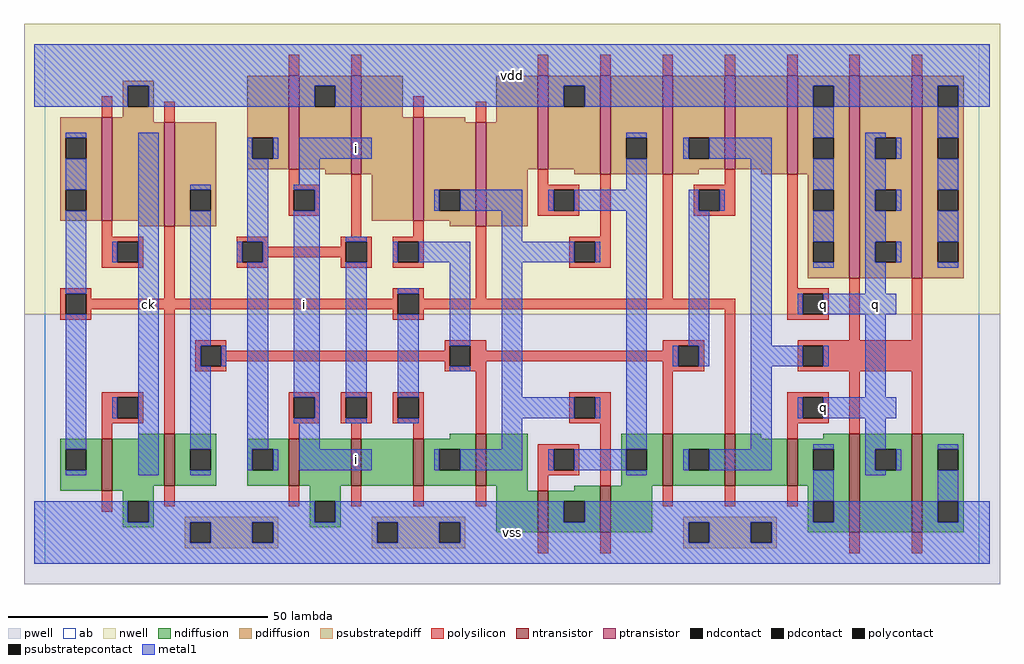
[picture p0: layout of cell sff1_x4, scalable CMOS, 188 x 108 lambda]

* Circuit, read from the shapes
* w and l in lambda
.subckt sff1_x4 ck i q vdd vss
M1 vss ck n1 vss nfet w=10 l=2
M2 n2 n1 vss vss nfet w=10 l=2
M3 vss i n3 vss nfet w=9 l=2
M4 n4 n3 vss vss nfet w=9 l=2
M5 n5 n1 n4 vss nfet w=9 l=2
M6 n6 n2 n5 vss nfet w=10 l=2
M7 vss n7 n6 vss nfet w=8 l=2
M8 n7 n5 vss vss nfet w=9 l=2
M9 n8 n2 n7 vss nfet w=10 l=2
M10 n9 n1 n8 vss nfet w=10 l=2
M11 vss q n9 vss nfet w=9 l=2
M12 q n8 vss vss nfet w=19 l=2 m=2
M13 vdd ck n1 n10 pfet w=20 l=2
M14 n2 n1 vdd n10 pfet w=20 l=2
M15 vdd i n3 n10 pfet w=18 l=2
M16 n11 n3 vdd n10 pfet w=19 l=2
M17 n5 n2 n11 n10 pfet w=20 l=2
M18 n12 n1 n5 n10 pfet w=20 l=2
M19 vdd n7 n12 n10 pfet w=18 l=2
M20 n7 n5 vdd n10 pfet w=19 l=2
M21 n8 n1 n7 n10 pfet w=19 l=2
M22 n13 n2 n8 n10 pfet w=18 l=2
M23 vdd q n13 n10 pfet w=19 l=2
M24 q n8 vdd n10 pfet w=39 l=2 m=2
.ends

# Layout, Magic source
magic
tech scmos
<< ab >>
rect 0 0 180 100
<< pwell >>
rect -4 -4 184 48
<< nwell >>
rect -4 48 184 104
<< polysilicon >>
rect 47 94 49 98
rect 59 94 61 98
rect 95 94 97 98
rect 107 94 109 98
rect 119 94 121 98
rect 131 94 133 98
rect 143 94 145 98
rect 155 94 157 98
rect 167 94 169 98
rect 11 86 13 90
rect 23 85 25 89
rect 11 63 13 66
rect 47 73 49 76
rect 71 86 73 90
rect 47 72 53 73
rect 47 68 48 72
rect 52 68 53 72
rect 47 67 53 68
rect 11 62 19 63
rect 11 58 14 62
rect 18 58 19 62
rect 11 57 19 58
rect 3 52 9 53
rect 3 48 4 52
rect 8 51 9 52
rect 23 51 25 65
rect 59 63 61 75
rect 83 85 85 89
rect 71 63 73 66
rect 95 73 97 76
rect 95 72 103 73
rect 95 68 98 72
rect 102 68 103 72
rect 95 67 103 68
rect 37 62 43 63
rect 37 58 38 62
rect 42 61 43 62
rect 57 62 63 63
rect 57 61 58 62
rect 42 59 58 61
rect 42 58 43 59
rect 37 57 43 58
rect 57 58 58 59
rect 62 58 63 62
rect 57 57 63 58
rect 67 62 73 63
rect 67 58 68 62
rect 72 58 73 62
rect 67 57 73 58
rect 67 52 73 53
rect 67 51 68 52
rect 8 49 68 51
rect 8 48 9 49
rect 3 47 9 48
rect 11 32 19 33
rect 11 28 14 32
rect 18 28 19 32
rect 11 27 19 28
rect 11 24 13 27
rect 23 25 25 49
rect 67 48 68 49
rect 72 51 73 52
rect 83 51 85 65
rect 107 63 109 75
rect 101 62 109 63
rect 101 58 102 62
rect 106 58 109 62
rect 101 57 109 58
rect 119 51 121 75
rect 131 73 133 76
rect 125 72 133 73
rect 125 68 126 72
rect 130 68 133 72
rect 125 67 133 68
rect 143 53 145 75
rect 143 52 151 53
rect 72 49 133 51
rect 72 48 73 49
rect 67 47 73 48
rect 29 42 35 43
rect 29 38 30 42
rect 34 41 35 42
rect 77 42 85 43
rect 77 41 78 42
rect 34 39 78 41
rect 34 38 35 39
rect 29 37 35 38
rect 77 38 78 39
rect 82 41 85 42
rect 119 42 127 43
rect 119 41 122 42
rect 82 39 122 41
rect 82 38 85 39
rect 77 37 85 38
rect 47 32 53 33
rect 47 28 48 32
rect 52 28 53 32
rect 47 27 53 28
rect 57 32 63 33
rect 57 28 58 32
rect 62 28 63 32
rect 57 27 63 28
rect 67 32 73 33
rect 67 28 68 32
rect 72 28 73 32
rect 67 27 73 28
rect 47 24 49 27
rect 59 24 61 27
rect 71 24 73 27
rect 83 25 85 37
rect 119 38 122 39
rect 126 38 127 42
rect 119 37 127 38
rect 101 32 109 33
rect 101 28 102 32
rect 106 28 109 32
rect 101 27 109 28
rect 11 10 13 14
rect 23 11 25 15
rect 47 11 49 15
rect 59 11 61 15
rect 71 11 73 15
rect 83 11 85 15
rect 95 22 103 23
rect 95 18 98 22
rect 102 18 103 22
rect 95 17 103 18
rect 95 14 97 17
rect 107 15 109 27
rect 119 25 121 37
rect 131 25 133 49
rect 143 48 146 52
rect 150 48 151 52
rect 143 47 151 48
rect 155 43 157 55
rect 167 43 169 55
rect 145 42 169 43
rect 145 38 146 42
rect 150 38 169 42
rect 145 37 169 38
rect 143 32 151 33
rect 143 28 146 32
rect 150 28 151 32
rect 143 27 151 28
rect 143 24 145 27
rect 155 25 157 37
rect 167 25 169 37
rect 119 11 121 15
rect 131 11 133 15
rect 143 11 145 15
rect 95 2 97 6
rect 107 2 109 6
rect 155 2 157 6
rect 167 2 169 6
<< ndiffusion >>
rect 18 24 23 25
rect 3 22 11 24
rect 3 18 4 22
rect 8 18 11 22
rect 3 14 11 18
rect 13 15 23 24
rect 25 22 33 25
rect 78 24 83 25
rect 25 18 28 22
rect 32 18 33 22
rect 25 15 33 18
rect 39 22 47 24
rect 39 18 40 22
rect 44 18 47 22
rect 39 15 47 18
rect 49 15 59 24
rect 61 15 71 24
rect 73 22 83 24
rect 73 18 76 22
rect 80 18 83 22
rect 73 15 83 18
rect 85 15 93 25
rect 13 14 21 15
rect 15 12 21 14
rect 15 8 16 12
rect 20 8 21 12
rect 51 12 57 15
rect 15 7 21 8
rect 51 8 52 12
rect 56 8 57 12
rect 87 14 93 15
rect 111 22 119 25
rect 111 18 112 22
rect 116 18 119 22
rect 111 15 119 18
rect 121 22 131 25
rect 121 18 124 22
rect 128 18 131 22
rect 121 15 131 18
rect 133 24 138 25
rect 150 24 155 25
rect 133 15 143 24
rect 145 22 155 24
rect 145 18 148 22
rect 152 18 155 22
rect 145 15 155 18
rect 102 14 107 15
rect 51 7 57 8
rect 87 6 95 14
rect 97 12 107 14
rect 97 8 100 12
rect 104 8 107 12
rect 97 6 107 8
rect 109 6 117 15
rect 147 12 155 15
rect 147 8 148 12
rect 152 8 155 12
rect 147 6 155 8
rect 157 22 167 25
rect 157 18 160 22
rect 164 18 167 22
rect 157 6 167 18
rect 169 22 177 25
rect 169 18 172 22
rect 176 18 177 22
rect 169 12 177 18
rect 169 8 172 12
rect 176 8 177 12
rect 169 6 177 8
<< pdiffusion >>
rect 15 92 21 93
rect 15 88 16 92
rect 20 88 21 92
rect 15 86 21 88
rect 3 82 11 86
rect 3 78 4 82
rect 8 78 11 82
rect 3 72 11 78
rect 3 68 4 72
rect 8 68 11 72
rect 3 66 11 68
rect 13 85 21 86
rect 13 66 23 85
rect 18 65 23 66
rect 25 72 33 85
rect 39 82 47 94
rect 39 78 40 82
rect 44 78 47 82
rect 39 76 47 78
rect 49 92 59 94
rect 49 88 52 92
rect 56 88 59 92
rect 49 76 59 88
rect 25 68 28 72
rect 32 68 33 72
rect 25 65 33 68
rect 54 75 59 76
rect 61 86 69 94
rect 61 75 71 86
rect 63 66 71 75
rect 73 85 81 86
rect 87 85 95 94
rect 73 72 83 85
rect 73 68 76 72
rect 80 68 83 72
rect 73 66 83 68
rect 78 65 83 66
rect 85 76 95 85
rect 97 92 107 94
rect 97 88 100 92
rect 104 88 107 92
rect 97 76 107 88
rect 85 65 93 76
rect 102 75 107 76
rect 109 82 119 94
rect 109 78 112 82
rect 116 78 119 82
rect 109 75 119 78
rect 121 82 131 94
rect 121 78 124 82
rect 128 78 131 82
rect 121 76 131 78
rect 133 76 143 94
rect 121 75 126 76
rect 138 75 143 76
rect 145 92 155 94
rect 145 88 148 92
rect 152 88 155 92
rect 145 82 155 88
rect 145 78 148 82
rect 152 78 155 82
rect 145 75 155 78
rect 147 72 155 75
rect 147 68 148 72
rect 152 68 155 72
rect 147 62 155 68
rect 147 58 148 62
rect 152 58 155 62
rect 147 55 155 58
rect 157 82 167 94
rect 157 78 160 82
rect 164 78 167 82
rect 157 72 167 78
rect 157 68 160 72
rect 164 68 167 72
rect 157 62 167 68
rect 157 58 160 62
rect 164 58 167 62
rect 157 55 167 58
rect 169 92 177 94
rect 169 88 172 92
rect 176 88 177 92
rect 169 82 177 88
rect 169 78 172 82
rect 176 78 177 82
rect 169 72 177 78
rect 169 68 172 72
rect 176 68 177 72
rect 169 62 177 68
rect 169 58 172 62
rect 176 58 177 62
rect 169 55 177 58
<< metal1 >>
rect -2 92 182 100
rect -2 88 16 92
rect 20 88 52 92
rect 56 88 100 92
rect 104 88 148 92
rect 152 88 172 92
rect 176 88 182 92
rect 4 82 8 83
rect 4 72 8 78
rect 4 52 8 68
rect 13 58 14 62
rect 4 22 8 48
rect 13 28 14 32
rect 4 17 8 18
rect 18 17 22 83
rect 112 82 116 83
rect 148 82 152 88
rect 39 78 40 82
rect 44 78 45 82
rect 49 78 63 82
rect 123 78 124 82
rect 128 78 140 82
rect 28 72 32 73
rect 28 42 32 68
rect 39 62 43 78
rect 49 73 53 78
rect 37 58 38 62
rect 42 58 43 62
rect 28 38 30 42
rect 34 38 35 42
rect 28 22 32 38
rect 39 22 43 58
rect 48 72 53 73
rect 112 72 116 78
rect 52 68 53 72
rect 75 68 76 72
rect 80 68 92 72
rect 97 68 98 72
rect 102 68 116 72
rect 48 32 53 68
rect 52 28 53 32
rect 48 27 53 28
rect 58 62 62 63
rect 88 62 92 68
rect 67 58 68 62
rect 72 58 82 62
rect 58 32 62 58
rect 58 27 62 28
rect 68 52 72 53
rect 68 32 72 48
rect 78 42 82 58
rect 78 37 82 38
rect 88 58 102 62
rect 106 58 107 62
rect 68 27 72 28
rect 88 32 92 58
rect 88 28 102 32
rect 106 28 107 32
rect 49 22 53 27
rect 88 22 92 28
rect 112 22 116 68
rect 124 68 126 72
rect 130 68 131 72
rect 124 42 128 68
rect 121 38 122 42
rect 126 38 128 42
rect 136 42 140 78
rect 148 72 152 78
rect 148 62 152 68
rect 148 57 152 58
rect 158 82 162 83
rect 172 82 176 88
rect 158 78 160 82
rect 164 78 165 82
rect 158 72 162 78
rect 172 72 176 78
rect 158 68 160 72
rect 164 68 165 72
rect 158 62 162 68
rect 172 62 176 68
rect 158 58 160 62
rect 164 58 165 62
rect 158 52 162 58
rect 172 57 176 58
rect 145 48 146 52
rect 150 48 164 52
rect 136 38 146 42
rect 150 38 151 42
rect 136 22 140 38
rect 158 32 162 48
rect 145 28 146 32
rect 150 28 164 32
rect 39 18 40 22
rect 44 18 45 22
rect 49 18 63 22
rect 75 18 76 22
rect 80 18 92 22
rect 97 18 98 22
rect 102 18 112 22
rect 123 18 124 22
rect 128 18 140 22
rect 148 22 152 23
rect 28 17 32 18
rect 112 17 116 18
rect 148 12 152 18
rect 158 22 162 28
rect 172 22 176 23
rect 158 18 160 22
rect 164 18 165 22
rect 158 17 162 18
rect 172 12 176 18
rect -2 8 16 12
rect 20 8 52 12
rect 56 8 100 12
rect 104 8 148 12
rect 152 8 172 12
rect 176 8 182 12
rect -2 4 28 8
rect 32 4 40 8
rect 44 4 64 8
rect 68 4 76 8
rect 80 4 124 8
rect 128 4 136 8
rect 140 4 182 8
rect -2 0 182 4
<< ntransistor >>
rect 11 14 13 24
rect 23 15 25 25
rect 47 15 49 24
rect 59 15 61 24
rect 71 15 73 24
rect 83 15 85 25
rect 119 15 121 25
rect 131 15 133 25
rect 143 15 145 24
rect 95 6 97 14
rect 107 6 109 15
rect 155 6 157 25
rect 167 6 169 25
<< ptransistor >>
rect 11 66 13 86
rect 23 65 25 85
rect 47 76 49 94
rect 59 75 61 94
rect 71 66 73 86
rect 83 65 85 85
rect 95 76 97 94
rect 107 75 109 94
rect 119 75 121 94
rect 131 76 133 94
rect 143 75 145 94
rect 155 55 157 94
rect 167 55 169 94
<< polycontact >>
rect 48 68 52 72
rect 14 58 18 62
rect 4 48 8 52
rect 98 68 102 72
rect 38 58 42 62
rect 58 58 62 62
rect 68 58 72 62
rect 14 28 18 32
rect 68 48 72 52
rect 102 58 106 62
rect 126 68 130 72
rect 30 38 34 42
rect 78 38 82 42
rect 48 28 52 32
rect 58 28 62 32
rect 68 28 72 32
rect 122 38 126 42
rect 102 28 106 32
rect 98 18 102 22
rect 146 48 150 52
rect 146 38 150 42
rect 146 28 150 32
<< ndcontact >>
rect 4 18 8 22
rect 28 18 32 22
rect 40 18 44 22
rect 76 18 80 22
rect 16 8 20 12
rect 52 8 56 12
rect 112 18 116 22
rect 124 18 128 22
rect 148 18 152 22
rect 100 8 104 12
rect 148 8 152 12
rect 160 18 164 22
rect 172 18 176 22
rect 172 8 176 12
<< pdcontact >>
rect 16 88 20 92
rect 4 78 8 82
rect 4 68 8 72
rect 40 78 44 82
rect 52 88 56 92
rect 28 68 32 72
rect 76 68 80 72
rect 100 88 104 92
rect 112 78 116 82
rect 124 78 128 82
rect 148 88 152 92
rect 148 78 152 82
rect 148 68 152 72
rect 148 58 152 62
rect 160 78 164 82
rect 160 68 164 72
rect 160 58 164 62
rect 172 88 176 92
rect 172 78 176 82
rect 172 68 176 72
rect 172 58 176 62
<< psubstratepcontact >>
rect 28 4 32 8
rect 40 4 44 8
rect 64 4 68 8
rect 76 4 80 8
rect 124 4 128 8
rect 136 4 140 8
<< psubstratepdiff >>
rect 27 8 45 9
rect 27 4 28 8
rect 32 4 40 8
rect 44 4 45 8
rect 63 8 81 9
rect 27 3 45 4
rect 63 4 64 8
rect 68 4 76 8
rect 80 4 81 8
rect 123 8 141 9
rect 63 3 81 4
rect 123 4 124 8
rect 128 4 136 8
rect 140 4 141 8
rect 123 3 141 4
<< labels >>
rlabel metal1 20 50 20 50 6 ck
rlabel metal1 60 20 60 20 6 i
rlabel metal1 50 50 50 50 6 i
rlabel metal1 60 80 60 80 6 i
rlabel metal1 90 6 90 6 6 vss
rlabel metal1 90 94 90 94 6 vdd
rlabel metal1 150 30 150 30 6 q
rlabel metal1 160 50 160 50 6 q
rlabel metal1 150 50 150 50 6 q
<< end >>
